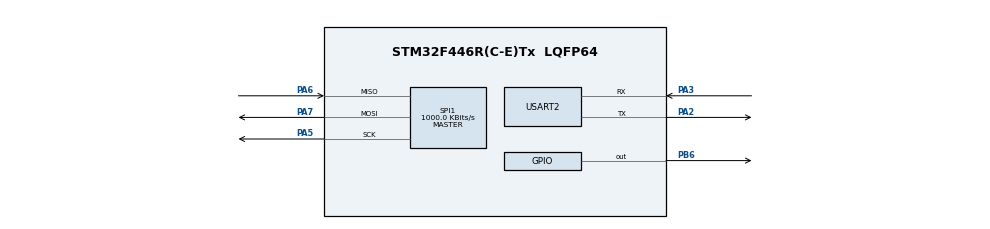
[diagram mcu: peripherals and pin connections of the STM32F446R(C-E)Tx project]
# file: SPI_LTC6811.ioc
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Mcu.Family=STM32F4
Mcu.Name=STM32F446R(C-E)Tx
Mcu.Package=LQFP64
NVIC.PriorityGroup=NVIC_PRIORITYGROUP_4
PA13.Mode=Serial_Wire
PA13.Signal=SYS_JTMS-SWDIO
PA14.Mode=Serial_Wire
PA14.Signal=SYS_JTCK-SWCLK
PA2.Mode=Asynchronous
PA2.Signal=USART2_TX
PA3.Mode=Asynchronous
PA3.Signal=USART2_RX
PA5.Mode=Full_Duplex_Master
PA5.Signal=SPI1_SCK
PA6.Mode=Full_Duplex_Master
PA6.Signal=SPI1_MISO
PA7.Mode=Full_Duplex_Master
PA7.Signal=SPI1_MOSI
PB6.Signal=GPIO_Output
ProjectManager.HeapSize=0x200
ProjectManager.StackSize=0x400
ProjectManager.TargetToolchain=STM32CubeIDE
RCC.CortexFreq_Value=16000000
RCC.USBFreq_Value=96000000
RCC.VCOOutputFreq_Value=192000000
SPI1.BaudRatePrescaler=SPI_BAUDRATEPRESCALER_16
SPI1.CalculateBaudRate=1000.0 KBits/s
SPI1.Direction=SPI_DIRECTION_2LINES
SPI1.Mode=SPI_MODE_MASTER
SPI1.VirtualType=VM_MASTER
USART2.VirtualMode=VM_ASYNC
board=custom

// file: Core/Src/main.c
/* USER CODE BEGIN Header */
/**
 ******************************************************************************
 * @file           : main.c
 * @brief          : Main program body
 ******************************************************************************
 * @attention
 *
 * Copyright (c) 2022 STMicroelectronics.
 * All rights reserved.
 *
 * This software is licensed under terms that can be found in the LICENSE file
 * in the root directory of this software component.
 * If no LICENSE file comes with this software, it is provided AS-IS.
 *
 ******************************************************************************
 */
/* USER CODE END Header */
#include "main.h"

/* USER CODE BEGIN Includes */

#include "LTC6811.h"
/* USER CODE END Includes */

/* USER CODE BEGIN PTD */

typedef struct {
  float voltage;
  float temperature;
} Cell;

typedef struct {
  Cell cells[17];
} Bank;

typedef struct {
  Bank banks[8];
} Accumulator;

/* USER CODE END PTD */

/* USER CODE BEGIN PD */
#define ENABLED               1
#define DISABLED              0
#define DATALOG_ENABLED       1
#define DATALOG_DISABLED      0

#define TOTAL_SEGMENT         1
#define CELL_PER_SEGMENT      17
#define TOTAL_IC              TOTAL_SEGMENT * 2
#define TOTAL_CELL            TOTAL_SEGMENT * CELL_PER_SEGMENT

//ADC Command Configurations. See LTC681x.h for options.
#define ADC_OPT               ADC_OPT_DISABLED //!< ADC Mode option bit
#define ADC_CONVERSION_MODE   MD_7KHZ_3KHZ //!< ADC Mode
#define ADC_DCP               DCP_ENABLED //!< Discharge Permitted
#define CELL_CH_TO_CONVERT    CELL_CH_ALL //!< Channel Selection for ADC conversion
#define AUX_CH_TO_CONVERT     AUX_CH_ALL //!< Channel Selection for ADC conversion
#define STAT_CH_TO_CONVERT    STAT_CH_ALL //!< Channel Selection for ADC conversion
#define SEL_ALL_REG           REG_ALL //!< Register Selection
#define SEL_REG_A             REG_1 //!< Register Selection
#define SEL_REG_B             REG_2 //!< Register Selection

#define MEASUREMENT_LOOP_TIME 500 //!< Loop Time in milliseconds(ms)

//Under Voltage and Over Voltage Thresholds
#define OV_THRESHOLD          41000 //!< Over voltage threshold ADC Code. LSB = 0.0001 ---(4.1V)
#define UV_THRESHOLD          30000 //!< Under voltage threshold ADC Code. LSB = 0.0001 ---(3V)

//Loop Measurement Setup. These Variables are ENABLED or DISABLED. Remember ALL CAPS
#define WRITE_CONFIG          DISABLED  //!< This is to ENABLED or DISABLED writing into to configuration registers in a continuous loop
#define READ_CONFIG           DISABLED //!< This is to ENABLED or DISABLED reading the configuration registers in a continuous loop
#define MEASURE_CELL          ENABLED //!< This is to ENABLED or DISABLED measuring the cell voltages in a continuous loop
#define MEASURE_AUX           ENABLED //!< This is to ENABLED or DISABLED reading the auxiliary registers in a continuous loop
#define MEASURE_STAT          DISABLED //!< This is to ENABLED or DISABLED reading the status registers in a continuous loop
#define PRINT_PEC             DISABLED //!< This is to ENABLED or DISABLED printing the PEC Error Count in a continuous loop

/* USER CODE END PD */

 SPI_HandleTypeDef hspi1;

UART_HandleTypeDef huart2;

/* USER CODE BEGIN PV */
Accumulator accumulator;

/* USER CODE END PV */

void SystemClock_Config(void);
static void MX_GPIO_Init(void);
static void MX_SPI1_Init(void);
static void MX_USART2_UART_Init(void);
/* USER CODE BEGIN PFP */
void measurement_loop(uint8_t datalog_en);
void print_menu(void);
void print_wrconfig(void);
void print_rxconfig(void);
void print_cells(uint8_t datalog_en);
void print_aux(uint8_t datalog_en);
void print_stat(void);
void print_sumofcells(void);
void check_mux_fail(void);
void print_selftest_errors(uint8_t adc_reg, int8_t error);
void print_overlap_results(int8_t error);
void print_digital_redundancy_errors(uint8_t adc_reg, int8_t error);
void print_open_wires(void);
void print_pec_error_count(void);
int8_t select_s_pin(void);
void print_wrpwm(void);
void print_rxpwm(void);
void print_wrsctrl(void);
void print_rxsctrl(void);
void print_wrcomm(void);
void print_rxcomm(void);
void print_conv_time(uint32_t conv_time);
void check_error(int error);
void serial_print_text(char data[]);
void serial_print_hex(uint8_t data);
char read_hex(void);
char get_char(void);
/* USER CODE END PFP */

/* USER CODE BEGIN 0 */

Cell bank[TOTAL_CELL];
cell_asic bms_ic_arr[8]; //!< Global Battery Variable

uint8_t REFON = 1; //!< Reference Powered Up Bit
uint8_t ADCOPT = 0; //!< ADC Mode option bit
uint8_t GPIOBITS_A[5] = { 1, 1, 0, 0, 0 }; //!< GPIO Pin Control // Gpio 1,2,3,4,5    First two are ADC inputs, set to TRUE; latter 3 are MUX sel, outputs
uint16_t UV = UV_THRESHOLD; //!< Under-voltage Comparison Voltage
uint16_t OV = OV_THRESHOLD; //!< Over-voltage Comparison Voltage
uint8_t DCCBITS_A[12] = { false, false, false, false, false, false, false, false, false, false, false, false }; //!< Discharge cell switch //Dcc 1,2,3,4,5,6,7,8,9,10,11,12
uint8_t DCTOBITS[4] = { true, false, true, false }; //!< Discharge time value // Dcto 0,1,2,3 // Programed for 4 min

float getVoltage(uint16_t val) {
  return val == 65535 ? -42 : val * 0.0001;
}

float getTemperature(uint16_t val) {
  return val == 65535 ? -42 : val * 0.0001;
}

void print_rxconfig(void) {

  char str[64];

  sprintf(str, "Received Configuration \r\n");
  HAL_UART_Transmit(&huart2, (uint8_t*) str, strlen(str), 100);

  for (int current_ic = 0; current_ic < TOTAL_IC; current_ic++) {
    sprintf(str, "CFGA IC %d ", current_ic + 1);
    HAL_UART_Transmit(&huart2, (uint8_t*) str, strlen(str), 100);

    for (int i = 0; i < 6; i++) {
      sprintf(str, ", 0x%d", bms_ic_arr[current_ic].config.rx_data[i]);
      HAL_UART_Transmit(&huart2, (uint8_t*) str, strlen(str), 100);
    }

    sprintf(str, ", Received PEC: 0x%d, 0x%d\r\n", bms_ic_arr[current_ic].config.rx_data[6],
        bms_ic_arr[current_ic].config.rx_data[7]);
    HAL_UART_Transmit(&huart2, (uint8_t*) str, strlen(str), 100);
  }
}

void print_wrconfig(void) {
  int cfg_pec;

  char str[64];

  sprintf(str, "Written Configuration: \r\n");
  HAL_UART_Transmit(&huart2, (uint8_t*) str, strlen(str), 100);

  for (int current_ic = 0; current_ic < TOTAL_IC; current_ic++) {
    sprintf(str, "CFGA IC %d", current_ic + 1);
    HAL_UART_Transmit(&huart2, (uint8_t*) str, strlen(str), 100);

    for (int i = 0; i < 6; i++) {
      sprintf(str, "0x%d", bms_ic_arr[current_ic].config.tx_data[i]);
      HAL_UART_Transmit(&huart2, (uint8_t*) str, strlen(str), 100);

    }
    cfg_pec = pec15_calc(6, &bms_ic_arr[current_ic].config.tx_data[0]);

    sprintf(str, ", Calculated PEC: 0x%d, 0x%d\r\n", (uint8_t) (cfg_pec >> 8), cfg_pec);
    HAL_UART_Transmit(&huart2, (uint8_t*) str, strlen(str), 100);
  }
}

int8_t temp_poll(int8_t temperature_ch) {
  int8_t error = 0;
  LTC6811_init_cfg(TOTAL_IC, bms_ic_arr);
  GPIOBITS_A[4] = (temperature_ch >> 2) & 0b1;
  GPIOBITS_A[3] = (temperature_ch >> 1) & 0b1;
  GPIOBITS_A[2] = (temperature_ch >> 0) & 0b1;
  GPIOBITS_A[1] = 0b1;
  GPIOBITS_A[0] = 0b1;
  for (uint8_t i = 0; i < TOTAL_IC; i+=1) {
    LTC6811_set_cfgr(i, bms_ic_arr, REFON, ADCOPT, GPIOBITS_A, DCCBITS_A, DCTOBITS, UV, OV);
  }

  LTC6811_reset_crc_count(TOTAL_IC, bms_ic_arr);
  LTC6811_init_reg_limits(TOTAL_IC, bms_ic_arr);

  wakeup_sleep(TOTAL_IC);
  LTC6811_wrcfg(TOTAL_IC, bms_ic_arr);

  wakeup_idle(TOTAL_IC);
  LTC6811_adax(ADC_CONVERSION_MODE, AUX_CH_ALL);
  LTC6811_pollAdc();
  wakeup_idle(TOTAL_IC);
  error = LTC6811_rdaux(SEL_ALL_REG, TOTAL_IC, bms_ic_arr); // Set to read back all aux registers
  return error;
}

void measurement_loop(uint8_t datalog_en) {
  int8_t error = 0;

  char str[128];

  LTC6811_init_cfg(TOTAL_IC, bms_ic_arr);
  uint8_t temperature_ch = 0;
  GPIOBITS_A[4] = (temperature_ch >> 2) & 0b1;
  GPIOBITS_A[3] = (temperature_ch >> 1) & 0b1;
  GPIOBITS_A[2] = (temperature_ch >> 0) & 0b1;
  GPIOBITS_A[1] = 0b1;
  GPIOBITS_A[0] = 0b1;
  LTC6811_set_cfgr(0, bms_ic_arr, REFON, ADCOPT, GPIOBITS_A, DCCBITS_A, DCTOBITS, UV, OV);
  LTC6811_set_cfgr(1, bms_ic_arr, REFON, ADCOPT, GPIOBITS_A, DCCBITS_A, DCTOBITS, UV, OV);

  LTC6811_reset_crc_count(TOTAL_IC, bms_ic_arr);
  LTC6811_init_reg_limits(TOTAL_IC, bms_ic_arr);

  wakeup_sleep(TOTAL_IC);
  LTC6811_wrcfg(TOTAL_IC, bms_ic_arr);

  wakeup_idle(TOTAL_IC);
  LTC6811_adcv(ADC_CONVERSION_MODE, ADC_DCP, CELL_CH_TO_CONVERT);
  LTC6811_pollAdc();
  wakeup_idle(TOTAL_IC);
  error = LTC6811_rdcv(SEL_ALL_REG, TOTAL_IC, bms_ic_arr);

  for (uint8_t seg = 0; seg < TOTAL_SEGMENT; seg += 1) {
    bank[seg * 17 + 16].voltage = getVoltage(bms_ic_arr[seg * 2].cells.c_codes[0]);
    bank[seg * 17 + 15].voltage = getVoltage(bms_ic_arr[seg * 2].cells.c_codes[1]);
    bank[seg * 17 + 14].voltage = getVoltage(bms_ic_arr[seg * 2].cells.c_codes[2]);
    bank[seg * 17 + 13].voltage = getVoltage(bms_ic_arr[seg * 2].cells.c_codes[3]);
    bank[seg * 17 + 12].voltage = getVoltage(bms_ic_arr[seg * 2].cells.c_codes[6]);
    bank[seg * 17 + 11].voltage = getVoltage(bms_ic_arr[seg * 2].cells.c_codes[7]);
    bank[seg * 17 + 10].voltage = getVoltage(bms_ic_arr[seg * 2].cells.c_codes[8]);
    bank[seg * 17 + 9].voltage = getVoltage(bms_ic_arr[seg * 2].cells.c_codes[9]);

    bank[seg * 17 + 8].voltage = getVoltage(bms_ic_arr[seg * 2 + 1].cells.c_codes[0]);
    bank[seg * 17 + 7].voltage = getVoltage(bms_ic_arr[seg * 2 + 1].cells.c_codes[1]);
    bank[seg * 17 + 6].voltage = getVoltage(bms_ic_arr[seg * 2 + 1].cells.c_codes[2]);
    bank[seg * 17 + 5].voltage = getVoltage(bms_ic_arr[seg * 2 + 1].cells.c_codes[3]);
    bank[seg * 17 + 4].voltage = getVoltage(bms_ic_arr[seg * 2 + 1].cells.c_codes[4]);
    bank[seg * 17 + 3].voltage = getVoltage(bms_ic_arr[seg * 2 + 1].cells.c_codes[6]);
    bank[seg * 17 + 2].voltage = getVoltage(bms_ic_arr[seg * 2 + 1].cells.c_codes[7]);
    bank[seg * 17 + 1].voltage = getVoltage(bms_ic_arr[seg * 2 + 1].cells.c_codes[8]);
    bank[seg * 17 + 0].voltage = getVoltage(bms_ic_arr[seg * 2 + 1].cells.c_codes[9]);
  }

  temp_poll(0);
  for (uint8_t seg = 0; seg < TOTAL_SEGMENT; seg += 1) {
    bank[seg * 17 + 12].temperature = getTemperature(bms_ic_arr[seg * 2].aux.a_codes[0]);
    bank[seg * 17 + 16].temperature = getTemperature(bms_ic_arr[seg * 2].aux.a_codes[1]);
    bank[seg * 17 + 4].temperature = getTemperature(bms_ic_arr[seg * 2 + 1].aux.a_codes[0]);
    bank[seg * 17 + 8].temperature = getTemperature(bms_ic_arr[seg * 2 + 1].aux.a_codes[1]);
  }

  temp_poll(1);
  for (uint8_t seg = 0; seg < TOTAL_SEGMENT; seg += 1) {
    bank[seg * 17 + 11].temperature = getTemperature(bms_ic_arr[seg * 2].aux.a_codes[0]);
    bank[seg * 17 + 15].temperature = getTemperature(bms_ic_arr[seg * 2].aux.a_codes[1]);
    bank[seg * 17 + 3].temperature = getTemperature(bms_ic_arr[seg * 2 + 1].aux.a_codes[0]);
    bank[seg * 17 + 7].temperature = getTemperature(bms_ic_arr[seg * 2 + 1].aux.a_codes[1]);
  }

  temp_poll(2);
  for (uint8_t seg = 0; seg < TOTAL_SEGMENT; seg += 1) {
    bank[seg * 17 + 10].temperature = getTemperature(bms_ic_arr[seg * 2].aux.a_codes[0]);
    bank[seg * 17 + 14].temperature = getTemperature(bms_ic_arr[seg * 2].aux.a_codes[1]);
    bank[seg * 17 + 2].temperature = getTemperature(bms_ic_arr[seg * 2 + 1].aux.a_codes[0]);
    bank[seg * 17 + 6].temperature = getTemperature(bms_ic_arr[seg * 2 + 1].aux.a_codes[1]);
  }

  temp_poll(3);
  for (uint8_t seg = 0; seg < TOTAL_SEGMENT; seg += 1) {
    bank[seg * 17 + 9].temperature = getTemperature(bms_ic_arr[seg * 2].aux.a_codes[0]);
    bank[seg * 17 + 13].temperature = getTemperature(bms_ic_arr[seg * 2].aux.a_codes[1]);
    bank[seg * 17 + 1].temperature = getTemperature(bms_ic_arr[seg * 2 + 1].aux.a_codes[0]);
    bank[seg * 17 + 5].temperature = getTemperature(bms_ic_arr[seg * 2 + 1].aux.a_codes[1]);
  }

  temp_poll(4);
  for (uint8_t seg = 0; seg < TOTAL_SEGMENT; seg += 1)
    bank[seg * 17].temperature = getTemperature(bms_ic_arr[seg * 2 + 1].aux.a_codes[0]);

  for (uint16_t i=0; i<8; i+=1) {
    sprintf(str, "======= Bank %d ========\r\n", i);
    HAL_UART_Transmit(&huart2, (uint8_t*) str, strlen(str), 100);

    sprintf(str, "Cells:\r\n");
    HAL_UART_Transmit(&huart2, (uint8_t*) str, strlen(str), 100);

    for (uint16_t cell_idx = 0; cell_idx < 17; cell_idx += 1) {
      sprintf(str, "%d\t", cell_idx + 1);
  //    sprintf(str, "%01X\t", cell_idx + 1);
      HAL_UART_Transmit(&huart2, (uint8_t*) str, strlen(str), 100);
    }

    sprintf(str, "\r\n");
    HAL_UART_Transmit(&huart2, (uint8_t*) str, strlen(str), 100);

    for (uint16_t cell_idx = 0; cell_idx < 17; cell_idx += 1) {
      sprintf(str, "%.3f\t", bank[i * 17 + cell_idx].voltage);
      HAL_UART_Transmit(&huart2, (uint8_t*) str, strlen(str), 100);
    }

    sprintf(str, "\r\n");
    HAL_UART_Transmit(&huart2, (uint8_t*) str, strlen(str), 100);

    for (uint16_t cell_idx = 0; cell_idx < 17; cell_idx += 1) {
      sprintf(str, "%.3f\t", bank[i * 17 + cell_idx].temperature);
      HAL_UART_Transmit(&huart2, (uint8_t*) str, strlen(str), 100);
    }

    sprintf(str, "\r\n");
    HAL_UART_Transmit(&huart2, (uint8_t*) str, strlen(str), 100);

    sprintf(str, "Vref2: %.3f\r\n\r\n", bms_ic_arr[i].aux.a_codes[5] * 0.0001);
    HAL_UART_Transmit(&huart2, (uint8_t*) str, strlen(str), 100);
  }

  HAL_Delay(MEASUREMENT_LOOP_TIME);

}

/* USER CODE END 0 */

int main(void)
{

  /* MCU Configuration--------------------------------------------------------*/

  /* Reset of all peripherals, Initializes the Flash interface and the Systick. */
  HAL_Init();

  /* Configure the system clock */
  SystemClock_Config();

  /* Initialize all configured peripherals */
  MX_GPIO_Init();
  MX_SPI1_Init();
  MX_USART2_UART_Init();
  /* USER CODE BEGIN 2 */

//  Serial.begin(115200);
//  quikeval_SPI_connect();
//  spi_enable(SPI_CLOCK_DIV16); // This will set the Linduino to have a 1MHz Clock
  LTC6811_init_cfg(TOTAL_IC, bms_ic_arr);
  uint8_t temperature_ch = 0;
  GPIOBITS_A[4] = (temperature_ch >> 2) & 0b1;
  GPIOBITS_A[3] = (temperature_ch >> 1) & 0b1;
  GPIOBITS_A[2] = (temperature_ch >> 0) & 0b1;
  GPIOBITS_A[1] = 0b1;
  GPIOBITS_A[0] = 0b1;
  LTC6811_set_cfgr(0, bms_ic_arr, REFON, ADCOPT, GPIOBITS_A, DCCBITS_A, DCTOBITS, UV, OV);

  //    temperatures[temperature_ch] = bms_ic_arr[ic_idx].aux.a_codes[1];

  LTC6811_reset_crc_count(TOTAL_IC, bms_ic_arr);
  LTC6811_init_reg_limits(TOTAL_IC, bms_ic_arr);
//  print_menu();

  /* USER CODE END 2 */

  /* Infinite loop */
  while (1) {

    /* USER CODE BEGIN 3 */

    measurement_loop(1);
    HAL_Delay(1000);
  }

  /* USER CODE END 3 */
}

void SystemClock_Config(void)
{
  RCC_OscInitTypeDef RCC_OscInitStruct = {0};
  RCC_ClkInitTypeDef RCC_ClkInitStruct = {0};

  /** Configure the main internal regulator output voltage
  */
  __HAL_RCC_PWR_CLK_ENABLE();
  __HAL_PWR_VOLTAGESCALING_CONFIG(PWR_REGULATOR_VOLTAGE_SCALE3);

  /** Initializes the RCC Oscillators according to the specified parameters
  * in the RCC_OscInitTypeDef structure.
  */
  RCC_OscInitStruct.OscillatorType = RCC_OSCILLATORTYPE_HSI;
  RCC_OscInitStruct.HSIState = RCC_HSI_ON;
  RCC_OscInitStruct.HSICalibrationValue = RCC_HSICALIBRATION_DEFAULT;
  RCC_OscInitStruct.PLL.PLLState = RCC_PLL_NONE;
  if (HAL_RCC_OscConfig(&RCC_OscInitStruct) != HAL_OK)
  {
    Error_Handler();
  }

  /** Initializes the CPU, AHB and APB buses clocks
  */
  RCC_ClkInitStruct.ClockType = RCC_CLOCKTYPE_HCLK|RCC_CLOCKTYPE_SYSCLK
                              |RCC_CLOCKTYPE_PCLK1|RCC_CLOCKTYPE_PCLK2;
  RCC_ClkInitStruct.SYSCLKSource = RCC_SYSCLKSOURCE_HSI;
  RCC_ClkInitStruct.AHBCLKDivider = RCC_SYSCLK_DIV1;
  RCC_ClkInitStruct.APB1CLKDivider = RCC_HCLK_DIV1;
  RCC_ClkInitStruct.APB2CLKDivider = RCC_HCLK_DIV1;

  if (HAL_RCC_ClockConfig(&RCC_ClkInitStruct, FLASH_LATENCY_0) != HAL_OK)
  {
    Error_Handler();
  }
}

static void MX_SPI1_Init(void)
{

  /* SPI1 parameter configuration*/
  hspi1.Instance = SPI1;
  hspi1.Init.Mode = SPI_MODE_MASTER;
  hspi1.Init.Direction = SPI_DIRECTION_2LINES;
  hspi1.Init.DataSize = SPI_DATASIZE_8BIT;
  hspi1.Init.CLKPolarity = SPI_POLARITY_LOW;
  hspi1.Init.CLKPhase = SPI_PHASE_1EDGE;
  hspi1.Init.NSS = SPI_NSS_SOFT;
  hspi1.Init.BaudRatePrescaler = SPI_BAUDRATEPRESCALER_16;
  hspi1.Init.FirstBit = SPI_FIRSTBIT_MSB;
  hspi1.Init.TIMode = SPI_TIMODE_DISABLE;
  hspi1.Init.CRCCalculation = SPI_CRCCALCULATION_DISABLE;
  hspi1.Init.CRCPolynomial = 10;
  if (HAL_SPI_Init(&hspi1) != HAL_OK)
  {
    Error_Handler();
  }

}

static void MX_USART2_UART_Init(void)
{

  huart2.Instance = USART2;
  huart2.Init.BaudRate = 115200;
  huart2.Init.WordLength = UART_WORDLENGTH_8B;
  huart2.Init.StopBits = UART_STOPBITS_1;
  huart2.Init.Parity = UART_PARITY_NONE;
  huart2.Init.Mode = UART_MODE_TX_RX;
  huart2.Init.HwFlowCtl = UART_HWCONTROL_NONE;
  huart2.Init.OverSampling = UART_OVERSAMPLING_16;
  if (HAL_UART_Init(&huart2) != HAL_OK)
  {
    Error_Handler();
  }

}

static void MX_GPIO_Init(void)
{
  GPIO_InitTypeDef GPIO_InitStruct = {0};

  /* GPIO Ports Clock Enable */
  __HAL_RCC_GPIOA_CLK_ENABLE();
  __HAL_RCC_GPIOB_CLK_ENABLE();

  /*Configure GPIO pin Output Level */
  HAL_GPIO_WritePin(GPIOB, GPIO_PIN_6, GPIO_PIN_RESET);

  /*Configure GPIO pin : PB6 */
  GPIO_InitStruct.Pin = GPIO_PIN_6;
  GPIO_InitStruct.Mode = GPIO_MODE_OUTPUT_PP;
  GPIO_InitStruct.Pull = GPIO_NOPULL;
  GPIO_InitStruct.Speed = GPIO_SPEED_FREQ_LOW;
  HAL_GPIO_Init(GPIOB, &GPIO_InitStruct);

}

void Error_Handler(void)
{
  __disable_irq();
  while (1) {
  }
}
